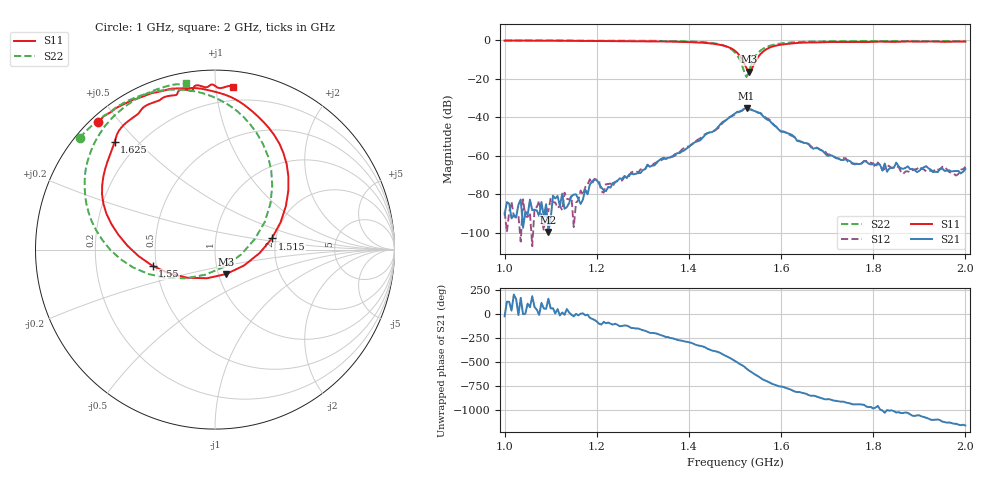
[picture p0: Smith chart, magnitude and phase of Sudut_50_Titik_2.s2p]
# Hz S RI R 50
! CMT, C1220, 16058040, 17.2.0/1
! Date: 14/08/2018 12:45:27
! Data: Format (Calibration Info)
! Freq  S11: Re/Im (F2)  S21: Re/Im (F2)  S12: Re/Im (F2)  S22: Re/Im (F2)
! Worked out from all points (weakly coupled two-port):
!   201 points, 1 GHz to 2 GHz, reference 50 ohm
!   highest |S21| = -35.34 dB at 1.525 GHz (marker M1); lowest = -99.7 dB at 1.095 GHz (marker M2)
!   lowest |S11| = -16.5 dB at 1.53 GHz (marker M3), VSWR 1.35, Z = 54.6 - j15.2 ohm
!   |S11| at or under -10 dB: 1.515 GHz to 1.547 GHz (31.73 MHz wide, 2.07 % of centre)
!   |S22| runs from -19.2 to -0.2 dB; largest |S21 - S12| = 0.00078
!   S11 on the Smith chart (normalised r, x): 1 GHz: 0.02, +0.44; 1.515 GHz: 1.90, +0.26; 1.55 GHz: 0.48, -0.10; 1.625 GHz: 0.12, +0.43; 2 GHz: 0.10, +1.11
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1e9  -0.6513 0.7133  2.65e-05 -1.29e-05  -3.21e-05 -1.35e-05  -0.7536 0.6214
1.095e9  -0.5613 0.7817  -9.63e-06 3.89e-06  3.15e-05 1.64e-05  -0.6857 0.692
1.17e9  -0.4805 0.8237  7.19e-05 6.95e-06  9.48e-05 -1.86e-06  -0.6183 0.7465
1.185e9  -0.4575 0.8344  0.000135 -0.000112  0.000178 -0.000164  -0.6015 0.7558
1.2e9  -0.438 0.8403  4.29e-05 -0.000228  5.17e-05 -0.000229  -0.5851 0.7598
1.215e9  -0.4225 0.8452  1.64e-05 -0.000127  2.05e-05 -0.000106  -0.578 0.7686
1.22e9  -0.4157 0.8476  -1.55e-05 -0.000118  1.52e-05 -0.00018  -0.5738 0.7739
1.335e9  -0.2176 0.8972  -0.000619 0.000419  -0.000593 0.000496  -0.4039 0.8615
1.45e9  0.1821 0.7913  0.00381 -0.00145  0.00382 -0.00172  0.0192 0.8373
1.5e9  0.4087 0.3299  -0.00769 -0.00978  -0.00726 -0.00919  0.3189 0.352
1.515e9  0.3169 0.0621  -0.0144 -0.00185  -0.0145 -0.00228  0.2212 0.0583
1.525e9  0.1624 -0.0881  -0.0147 0.00864  -0.015 0.00864  0.0531 -0.0952
1.53e9  0.0633 -0.136  -0.0105 0.0117  -0.0106 0.0118  -0.0539 -0.1399
1.55e9  -0.3477 -0.091  0.00411 0.0123  0.0036 0.0126  -0.4554 -0.1
1.58e9  -0.6216 0.2546  0.00685 -0.000835  0.00706 -0.0012  -0.7055 0.211
1.625e9  -0.5593 0.6012  0.000712 -0.00327  0.000769 -0.00309  -0.7024 0.5167
1.67e9  -0.4448 0.7439  -0.00099 -0.00114  -0.00108 -0.00124  -0.6278 0.6675
1.835e9  -0.1365 0.8852  0.00014 0.000442  0.000142 0.000508  -0.3815 0.8693
1.865e9  -0.1128 0.9117  0.000306 0.000338  0.00021 0.000258  -0.3409 0.8863
1.955e9  0.0263 0.8995  0.000275 -0.000289  0.000373 -0.000354  -0.2124 0.9208
1.98e9  0.0747 0.9112  0.000172 -0.000356  0.000121 -0.000278  -0.1838 0.9211
2e9  0.1015 0.9061  6.63e-05 -0.000441  5.3e-05 -0.000506  -0.1597 0.9298
